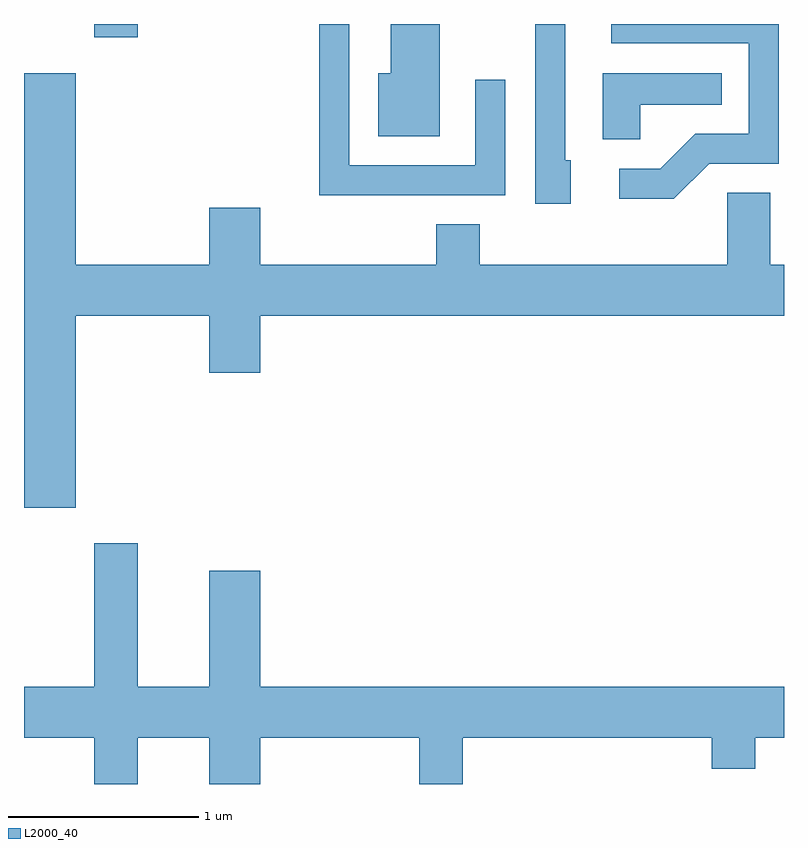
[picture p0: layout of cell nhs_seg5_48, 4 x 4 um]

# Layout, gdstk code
import gdstk
lib = gdstk.Library(unit=1e-6, precision=1e-09)
def R(c, l, rs):  # rectangles x0, y0, x1, y1
    for r in rs: c.add(gdstk.rectangle(r[:2], r[2:], *l))
def P(c, l, *ps):  # polygons
    for p in ps: c.add(gdstk.Polygon(p, *l))
L2000_40 = (2000, 40)

nhs_seg5_48 = lib.new_cell('nhs_seg5_48')
R(nhs_seg5_48, L2000_40, [(185.981,1496.001,186.209,1496.072)])
P(nhs_seg5_48, L2000_40, [(188.144,1495.778),(187.986,1495.778),(187.986,1495.329),(187.324,1495.329),(187.324,1496.072),(187.166,1496.072),(187.166,1495.171),(188.144,1495.171)],
  [(188.489,1495.354),(188.459,1495.354),(188.459,1496.072),(188.301,1496.072),(188.301,1495.126),(188.489,1495.126)],
  [(189.217,1495.336),(189.584,1495.336),(189.584,1496.072),(188.703,1496.072),(188.703,1495.971),(189.426,1495.971),(189.426,1495.494),(189.144,1495.494),(188.959,1495.309),(188.743,1495.309),(188.743,1495.151),(189.032,1495.151)],
  [(187.799,1496.072),(187.541,1496.072),(187.541,1495.814),(187.476,1495.814),(187.476,1495.481),(187.799,1495.481)],
  [(188.854,1495.646),(189.283,1495.646),(189.283,1495.814),(188.656,1495.814),(188.656,1495.466),(188.854,1495.466)],
  [(185.884,1494.536),(186.586,1494.536),(186.586,1494.236),(186.854,1494.236),(186.854,1494.536),(189.611,1494.536),(189.611,1494.804),(189.539,1494.804),(189.539,1495.184),(189.311,1495.184),(189.311,1494.804),(188.009,1494.804),(188.009,1495.019),(187.781,1495.019),(187.781,1494.804),(186.854,1494.804),(186.854,1495.104),(186.586,1495.104),(186.586,1494.804),(185.884,1494.804),(185.884,1495.814),(185.611,1495.814),(185.611,1493.526),(185.884,1493.526)],
  [(186.209,1492.316),(186.586,1492.316),(186.586,1492.072),(186.854,1492.072),(186.854,1492.316),(187.691,1492.316),(187.691,1492.072),(187.919,1492.072),(187.919,1492.316),(189.231,1492.316),(189.231,1492.151),(189.459,1492.151),(189.459,1492.316),(189.611,1492.316),(189.611,1492.584),(186.854,1492.584),(186.854,1493.194),(186.586,1493.194),(186.586,1492.584),(186.209,1492.584),(186.209,1493.339),(185.981,1493.339),(185.981,1492.584),(185.611,1492.584),(185.611,1492.316),(185.981,1492.316),(185.981,1492.072),(186.209,1492.072)])

lib.write_gds('nhs_seg5_48.gds')
